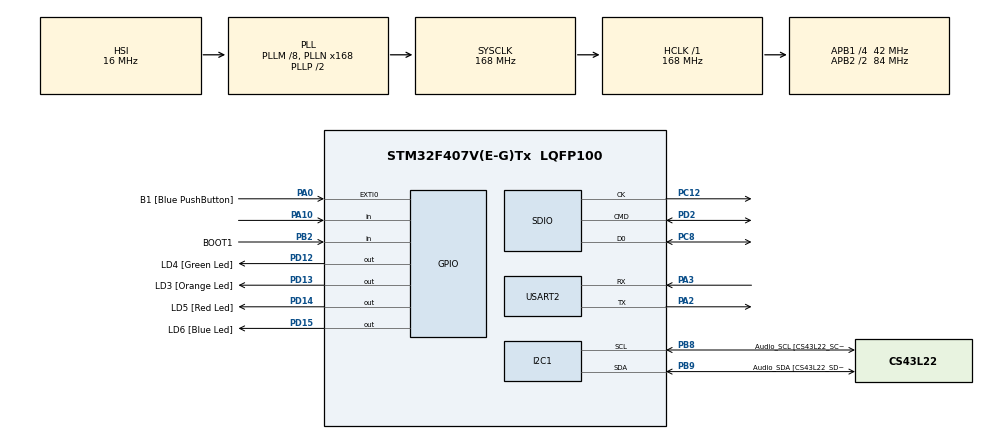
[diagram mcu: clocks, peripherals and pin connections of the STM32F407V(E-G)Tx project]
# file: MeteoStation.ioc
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Dma.Request0=SDIO_TX
Dma.Request1=SDIO_RX
Dma.SDIO_RX.1.Direction=DMA_PERIPH_TO_MEMORY
Dma.SDIO_RX.1.FIFOMode=DMA_FIFOMODE_ENABLE
Dma.SDIO_RX.1.FIFOThreshold=DMA_FIFO_THRESHOLD_FULL
Dma.SDIO_RX.1.Instance=DMA2_Stream6
Dma.SDIO_RX.1.MemBurst=DMA_MBURST_INC4
Dma.SDIO_RX.1.MemDataAlignment=DMA_MDATAALIGN_WORD
Dma.SDIO_RX.1.MemInc=DMA_MINC_ENABLE
Dma.SDIO_RX.1.Mode=DMA_PFCTRL
Dma.SDIO_RX.1.PeriphBurst=DMA_PBURST_INC4
Dma.SDIO_RX.1.PeriphDataAlignment=DMA_PDATAALIGN_WORD
Dma.SDIO_RX.1.PeriphInc=DMA_PINC_DISABLE
Dma.SDIO_RX.1.Priority=DMA_PRIORITY_LOW
Dma.SDIO_TX.0.Direction=DMA_MEMORY_TO_PERIPH
Dma.SDIO_TX.0.FIFOMode=DMA_FIFOMODE_ENABLE
Dma.SDIO_TX.0.FIFOThreshold=DMA_FIFO_THRESHOLD_FULL
Dma.SDIO_TX.0.Instance=DMA2_Stream3
Dma.SDIO_TX.0.MemBurst=DMA_MBURST_INC4
Dma.SDIO_TX.0.MemDataAlignment=DMA_MDATAALIGN_WORD
Dma.SDIO_TX.0.MemInc=DMA_MINC_ENABLE
Dma.SDIO_TX.0.Mode=DMA_PFCTRL
Dma.SDIO_TX.0.PeriphBurst=DMA_PBURST_INC4
Dma.SDIO_TX.0.PeriphDataAlignment=DMA_PDATAALIGN_WORD
Dma.SDIO_TX.0.PeriphInc=DMA_PINC_DISABLE
Dma.SDIO_TX.0.Priority=DMA_PRIORITY_LOW
FATFS.BSP.number=1
FATFS.USE_DMA_CODE_SD=1
FATFS._USE_CHMOD=1
FATFS._USE_EXPAND=1
FATFS._USE_FIND=1
FATFS._USE_FORWARD=1
FATFS._USE_LABEL=1
FATFS._USE_LFN=3
FATFS0.BSP.STBoard=false
FATFS0.BSP.api=Unknown
FATFS0.BSP.instance=PA10
FATFS0.BSP.ip=GPIO
FATFS0.BSP.mode=Input
FATFS0.BSP.name=Detect_SDIO
FATFS0.BSP.solution=PA10
Mcu.Family=STM32F4
Mcu.Name=STM32F407V(E-G)Tx
Mcu.Package=LQFP100
NVIC.DMA2_Stream3_IRQn=true\:7\:0\:true\:false\:true\:false\:true\:true
NVIC.DMA2_Stream6_IRQn=true\:7\:0\:true\:false\:true\:false\:true\:true
NVIC.PriorityGroup=NVIC_PRIORITYGROUP_4
NVIC.SDIO_IRQn=true\:6\:0\:true\:false\:true\:true\:true\:true
NVIC.TIM2_IRQn=true\:5\:0\:true\:false\:true\:true\:true\:true
NVIC.TIM6_DAC_IRQn=true\:6\:0\:true\:false\:true\:false\:true\:true
NVIC.TimeBase=TIM6_DAC_IRQn
NVIC.TimeBaseIP=TIM6
PA0-WKUP.GPIO_Label=B1 [Blue PushButton]
PA0-WKUP.GPIO_ModeDefaultEXTI=GPIO_MODE_EVT_RISING
PA0-WKUP.GPIO_PuPd=GPIO_NOPULL
PA0-WKUP.Signal=GPXTI0
PA10.GPIO_PuPd=GPIO_PULLDOWN
PA10.Signal=GPIO_Input
PA13.Mode=Serial_Wire
PA13.Signal=SYS_JTMS-SWDIO
PA14.Mode=Serial_Wire
PA14.Signal=SYS_JTCK-SWCLK
PA2.Mode=Asynchronous
PA2.Signal=USART2_TX
PA3.Mode=Asynchronous
PA3.Signal=USART2_RX
PB2.GPIO_Label=BOOT1
PB2.GPIO_Mode=GPIO_MODE_INPUT
PB2.GPIO_PuPd=GPIO_NOPULL
PB2.Signal=GPIO_Input
PB8.GPIO_Label=Audio_SCL [CS43L22_SCL]
PB8.GPIO_Mode=GPIO_MODE_AF_OD
PB8.GPIO_Pu=GPIO_PULLUP
PB8.GPIO_Speed=GPIO_SPEED_FREQ_LOW
PB8.Mode=I2C
PB8.Signal=I2C1_SCL
PB9.GPIO_Label=Audio_SDA [CS43L22_SDA]
PB9.GPIO_Mode=GPIO_MODE_AF_OD
PB9.GPIO_Pu=GPIO_PULLUP
PB9.GPIO_PuPd=GPIO_NOPULL
PB9.GPIO_Speed=GPIO_SPEED_FREQ_LOW
PB9.Mode=I2C
PB9.Signal=I2C1_SDA
PC12.Mode=SD_1_bit
PC12.Signal=SDIO_CK
PC8.Mode=SD_1_bit
PC8.Signal=SDIO_D0
PD12.GPIO_Label=LD4 [Green Led]
PD12.GPIO_PuPd=GPIO_NOPULL
PD12.GPIO_Speed=GPIO_SPEED_FREQ_LOW
PD12.Signal=GPIO_Output
PD13.GPIO_Label=LD3 [Orange Led]
PD13.GPIO_PuPd=GPIO_NOPULL
PD13.GPIO_Speed=GPIO_SPEED_FREQ_LOW
PD13.Signal=GPIO_Output
PD14.GPIO_Label=LD5 [Red Led]
PD14.GPIO_PuPd=GPIO_NOPULL
PD14.GPIO_Speed=GPIO_SPEED_FREQ_LOW
PD14.Signal=GPIO_Output
PD15.GPIO_Label=LD6 [Blue Led]
PD15.GPIO_PuPd=GPIO_NOPULL
PD15.GPIO_Speed=GPIO_SPEED_FREQ_LOW
PD15.Signal=GPIO_Output
PD2.Mode=SD_1_bit
PD2.Signal=SDIO_CMD
ProjectManager.HeapSize=0x200
ProjectManager.StackSize=0x400
ProjectManager.TargetToolchain=STM32CubeIDE
RCC.48MHZClocksFreq_Value=48000000
RCC.AHBFreq_Value=168000000
RCC.APB1CLKDivider=RCC_HCLK_DIV4
RCC.APB1Freq_Value=42000000
RCC.APB1TimFreq_Value=84000000
RCC.APB2CLKDivider=RCC_HCLK_DIV2
RCC.APB2Freq_Value=84000000
RCC.APB2TimFreq_Value=168000000
RCC.CortexFreq_Value=168000000
RCC.HCLKFreq_Value=168000000
RCC.HSE_VALUE=8000000
RCC.HSI_VALUE=16000000
RCC.LSE_VALUE=32768
RCC.PLLM=8
RCC.PLLN=168
RCC.PLLQ=7
RCC.SYSCLKFreq_VALUE=168000000
RCC.SYSCLKSource=RCC_SYSCLKSOURCE_PLLCLK
RCC.VCOOutputFreq_Value=336000000
TIM2.Period=99999
TIM2.Prescaler=8399
USART2.VirtualMode=VM_ASYNC
VP_FATFS_VS_SDIO.Mode=SDIO
VP_SYS_VS_tim6.Mode=TIM6
VP_TIM2_VS_ClockSourceINT.Mode=Internal
board=STM32F407G-DISC1

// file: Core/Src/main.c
/* USER CODE BEGIN Header */
/**
  ******************************************************************************
  * @file           : main.c
  * @brief          : Main program body
  ******************************************************************************
  * @attention
  *
  * Copyright (c) 2025 STMicroelectronics.
  * All rights reserved.
  *
  * This software is licensed under terms that can be found in the LICENSE file
  * in the root directory of this software component.
  * If no LICENSE file comes with this software, it is provided AS-IS.
  *
  ******************************************************************************
  */
/* USER CODE END Header */
#include "main.h"
#include "fatfs.h"

/* USER CODE BEGIN Includes */

#include "sd_functions.h"

/* USER CODE END Includes */

/* USER CODE BEGIN PD */

#define DWT_CTRL	(*(volatile uint32_t*)0xE0001000)

/* USER CODE END PD */

I2C_HandleTypeDef hi2c1;

SD_HandleTypeDef hsd;
DMA_HandleTypeDef hdma_sdio_tx;
DMA_HandleTypeDef hdma_sdio_rx;

TIM_HandleTypeDef htim2;

UART_HandleTypeDef huart2;

void SystemClock_Config(void);
static void MX_GPIO_Init(void);
static void MX_DMA_Init(void);
static void MX_I2C1_Init(void);
static void MX_TIM2_Init(void);
static void MX_SDIO_SD_Init(void);
static void MX_USART2_UART_Init(void);
/* USER CODE BEGIN PFP */

int _write(int fd, unsigned char *buf, int len);
void rtc_task(void*);
void bme280_task(void*);
void lcd_task(void*);
void sd_task(void*);
void vApplicationIdleHook(void);

/* USER CODE END PFP */

/* USER CODE BEGIN 0 */

// time and data structures
RTC_time_t curr_time;
RTC_date_t curr_date;

BME280_data_t measuring;

// data for queue and sd card
prev_date_t prev_date;

char curr_path[21];

// handlers
TaskHandle_t handle_rtc_task, handle_bme280_task, handle_lcd_task, handle_sd_task;
QueueHandle_t q_bme280, q_lcd, q_sd;
SemaphoreHandle_t i2cMutex;

/* USER CODE END 0 */

int main(void)
{

  /* MCU Configuration--------------------------------------------------------*/

  /* Reset of all peripherals, Initializes the Flash interface and the Systick. */
  HAL_Init();

  /* Configure the system clock */
  SystemClock_Config();

  /* Initialize all configured peripherals */
  MX_GPIO_Init();
  MX_DMA_Init();
  MX_I2C1_Init();
  MX_TIM2_Init();
  MX_SDIO_SD_Init();
  MX_FATFS_Init();
  MX_USART2_UART_Init();
  /* USER CODE BEGIN 2 */

  /* BME280 initialization */
  if(bme280_init() != HAL_OK)
  {
	  HAL_UART_Transmit(&huart2, "BME280_initialization is failed\n", 100, portMAX_DELAY);
  }
  else
  {
	  HAL_UART_Transmit(&huart2, "BME280_initialization is OK\n", 100, portMAX_DELAY);
  }

  // get first data
  if(bme280_get_data(&measuring) != HAL_OK)
  {
	  HAL_UART_Transmit(&huart2, "BME280_get_data is failed\n", 100, portMAX_DELAY);
  }
  else
  {
	  HAL_UART_Transmit(&huart2, "BME280_get_data is OK\n", 100, portMAX_DELAY);
  }
  /* DS1307 initialization */
  if(ds1307_init() != HAL_OK)
  {
	  HAL_UART_Transmit(&huart2, "DS1307_initialization is failed\n", 100, portMAX_DELAY);
  }
  else
  {
	  HAL_UART_Transmit(&huart2, "DS1307_initialization is OK\n", 100, portMAX_DELAY);
  }

  /* SET CURR DATA */
  {
	  curr_date.day = WEDNESDAY;
	  curr_date.date = 29;
	  curr_date.month = 12;
	  curr_date.year = 25;

	  curr_time.time_format = DS1307_TIME_FORMAT_24HOUR;
	  curr_time.hours = 20;
	  curr_time.minutes = 41;
	  curr_time.seconds = 30;

	  prev_date.prev_month = 11;
	  prev_date.prev_date = 28;
  }

  if(ds1307_set_current_date(&curr_date) != HAL_OK)
  {
	  HAL_UART_Transmit(&huart2, "DS1307_set_date is failed\n", 100, portMAX_DELAY);
  }
  else
  {
	  HAL_UART_Transmit(&huart2, "DS1307_set_date is OK\n", 100, portMAX_DELAY);
  }

  if(ds1307_set_current_time(&curr_time) != HAL_OK)
  {
	  HAL_UART_Transmit(&huart2, "DS1307_set_time is failed\n", 100, portMAX_DELAY);
  }
  else
  {
	  HAL_UART_Transmit(&huart2, "DS1307_set_time is OK\n", 100, portMAX_DELAY);
  }

  // /LOGS creation
  {
	  sd_mount();
	  sd_create_directory("/LOGS");
	  sd_unmount();
  }

#if SEGGER_UART_REC
  // Enable the CYCCNT counter.
  DWT_CTRL |= (1 << 0);

  // Enable SEGGER UART_VIEW
  SEGGER_UART_init(500000);

  SEGGER_SYSVIEW_Start();
#endif

  // Value to check the status
  BaseType_t status;

  // Create tasks
  status = xTaskCreate(rtc_task, "rtc_task", 256, NULL, 5, &handle_rtc_task);
  configASSERT(status == pdPASS);

  status = xTaskCreate(bme280_task, "bme280_task", 512, NULL, 5, &handle_bme280_task);
  configASSERT(status == pdPASS);

  status = xTaskCreate(lcd_task, "lcd_task", 512, NULL, 5, &handle_lcd_task);
  configASSERT(status == pdPASS);

  status = xTaskCreate(sd_task, "sd_task", 512, NULL, 4, &handle_sd_task);
  configASSERT(status == pdPASS);

  // Create 3 queue for rtc, bme280 and ( lcd & sd )
  q_bme280 = xQueueCreate(1, sizeof(meteo_msg_t));
  configASSERT(q_bme280 != NULL);

  q_lcd = xQueueCreate(1, sizeof(meteo_msg_t));
  configASSERT(q_lcd != NULL);

  q_sd = xQueueCreate(1, sizeof(meteo_msg_t));
  configASSERT(q_sd != NULL);

  i2cMutex = xSemaphoreCreateMutex();
  configASSERT(i2cMutex != NULL);

  xSemaphoreGive(i2cMutex);

  /* Timer 2 initialization */
  HAL_TIM_Base_Start_IT(&htim2);

  // Start the freeRTOS scheduler
  vTaskStartScheduler();

  /* USER CODE END 2 */

  /* Infinite loop */
  while(1)
  {

    /* USER CODE BEGIN 3 */
  }

  return 0;
  /* USER CODE END 3 */
}

void SystemClock_Config(void)
{
  RCC_OscInitTypeDef RCC_OscInitStruct = {0};
  RCC_ClkInitTypeDef RCC_ClkInitStruct = {0};

  /** Configure the main internal regulator output voltage
  */
  __HAL_RCC_PWR_CLK_ENABLE();
  __HAL_PWR_VOLTAGESCALING_CONFIG(PWR_REGULATOR_VOLTAGE_SCALE1);

  /** Initializes the RCC Oscillators according to the specified parameters
  * in the RCC_OscInitTypeDef structure.
  */
  RCC_OscInitStruct.OscillatorType = RCC_OSCILLATORTYPE_HSI;
  RCC_OscInitStruct.HSIState = RCC_HSI_ON;
  RCC_OscInitStruct.HSICalibrationValue = RCC_HSICALIBRATION_DEFAULT;
  RCC_OscInitStruct.PLL.PLLState = RCC_PLL_ON;
  RCC_OscInitStruct.PLL.PLLSource = RCC_PLLSOURCE_HSI;
  RCC_OscInitStruct.PLL.PLLM = 8;
  RCC_OscInitStruct.PLL.PLLN = 168;
  RCC_OscInitStruct.PLL.PLLP = RCC_PLLP_DIV2;
  RCC_OscInitStruct.PLL.PLLQ = 7;
  if (HAL_RCC_OscConfig(&RCC_OscInitStruct) != HAL_OK)
  {
    Error_Handler();
  }

  /** Initializes the CPU, AHB and APB buses clocks
  */
  RCC_ClkInitStruct.ClockType = RCC_CLOCKTYPE_HCLK|RCC_CLOCKTYPE_SYSCLK
                              |RCC_CLOCKTYPE_PCLK1|RCC_CLOCKTYPE_PCLK2;
  RCC_ClkInitStruct.SYSCLKSource = RCC_SYSCLKSOURCE_PLLCLK;
  RCC_ClkInitStruct.AHBCLKDivider = RCC_SYSCLK_DIV1;
  RCC_ClkInitStruct.APB1CLKDivider = RCC_HCLK_DIV4;
  RCC_ClkInitStruct.APB2CLKDivider = RCC_HCLK_DIV2;

  if (HAL_RCC_ClockConfig(&RCC_ClkInitStruct, FLASH_LATENCY_5) != HAL_OK)
  {
    Error_Handler();
  }
}

static void MX_I2C1_Init(void)
{

  hi2c1.Instance = I2C1;
  hi2c1.Init.ClockSpeed = 100000;
  hi2c1.Init.DutyCycle = I2C_DUTYCYCLE_2;
  hi2c1.Init.OwnAddress1 = 0;
  hi2c1.Init.AddressingMode = I2C_ADDRESSINGMODE_7BIT;
  hi2c1.Init.DualAddressMode = I2C_DUALADDRESS_DISABLE;
  hi2c1.Init.OwnAddress2 = 0;
  hi2c1.Init.GeneralCallMode = I2C_GENERALCALL_DISABLE;
  hi2c1.Init.NoStretchMode = I2C_NOSTRETCH_DISABLE;
  if (HAL_I2C_Init(&hi2c1) != HAL_OK)
  {
    Error_Handler();
  }

}

static void MX_SDIO_SD_Init(void)
{

  hsd.Instance = SDIO;
  hsd.Init.ClockEdge = SDIO_CLOCK_EDGE_RISING;
  hsd.Init.ClockBypass = SDIO_CLOCK_BYPASS_DISABLE;
  hsd.Init.ClockPowerSave = SDIO_CLOCK_POWER_SAVE_DISABLE;
  hsd.Init.BusWide = SDIO_BUS_WIDE_1B;
  hsd.Init.HardwareFlowControl = SDIO_HARDWARE_FLOW_CONTROL_DISABLE;
  hsd.Init.ClockDiv = 0;
  /* USER CODE BEGIN SDIO_Init 2 */

  //1) Initialize SD peripheral (this performs card init in 1-bit) */

  if (HAL_SD_Init(&hsd) != HAL_OK)
  {
	  printf("HAL_SD_Init failed!\r\n");
      Error_Handler();
  }

  printf("HAL_SD_Init OK\n");

  // switch to 4-bit AFTER init
  if (HAL_SD_ConfigWideBusOperation(&hsd, SDIO_BUS_WIDE_4B) == HAL_OK)
  {
	  printf("4-bit mode enabled \r\n");
  }
  else
  {
	  printf("Failed to switch to 4-bit mode\r\n");
  }

  /* USER CODE END SDIO_Init 2 */

}

static void MX_TIM2_Init(void)
{

  TIM_ClockConfigTypeDef sClockSourceConfig = {0};
  TIM_MasterConfigTypeDef sMasterConfig = {0};

  htim2.Instance = TIM2;
  htim2.Init.Prescaler = 8399;
  htim2.Init.CounterMode = TIM_COUNTERMODE_UP;
  htim2.Init.Period = 99999;
  htim2.Init.ClockDivision = TIM_CLOCKDIVISION_DIV1;
  htim2.Init.AutoReloadPreload = TIM_AUTORELOAD_PRELOAD_DISABLE;
  if (HAL_TIM_Base_Init(&htim2) != HAL_OK)
  {
    Error_Handler();
  }
  sClockSourceConfig.ClockSource = TIM_CLOCKSOURCE_INTERNAL;
  if (HAL_TIM_ConfigClockSource(&htim2, &sClockSourceConfig) != HAL_OK)
  {
    Error_Handler();
  }
  sMasterConfig.MasterOutputTrigger = TIM_TRGO_RESET;
  sMasterConfig.MasterSlaveMode = TIM_MASTERSLAVEMODE_DISABLE;
  if (HAL_TIMEx_MasterConfigSynchronization(&htim2, &sMasterConfig) != HAL_OK)
  {
    Error_Handler();
  }

}

static void MX_USART2_UART_Init(void)
{

  huart2.Instance = USART2;
  huart2.Init.BaudRate = 115200;
  huart2.Init.WordLength = UART_WORDLENGTH_8B;
  huart2.Init.StopBits = UART_STOPBITS_1;
  huart2.Init.Parity = UART_PARITY_NONE;
  huart2.Init.Mode = UART_MODE_TX_RX;
  huart2.Init.HwFlowCtl = UART_HWCONTROL_NONE;
  huart2.Init.OverSampling = UART_OVERSAMPLING_16;
  if (HAL_UART_Init(&huart2) != HAL_OK)
  {
    Error_Handler();
  }

}

static void MX_DMA_Init(void)
{

  /* DMA controller clock enable */
  __HAL_RCC_DMA2_CLK_ENABLE();

  /* DMA interrupt init */
  /* DMA2_Stream3_IRQn interrupt configuration */
  HAL_NVIC_SetPriority(DMA2_Stream3_IRQn, 7, 0);
  HAL_NVIC_EnableIRQ(DMA2_Stream3_IRQn);
  /* DMA2_Stream6_IRQn interrupt configuration */
  HAL_NVIC_SetPriority(DMA2_Stream6_IRQn, 7, 0);
  HAL_NVIC_EnableIRQ(DMA2_Stream6_IRQn);

}

static void MX_GPIO_Init(void)
{
  GPIO_InitTypeDef GPIO_InitStruct = {0};

  /* GPIO Ports Clock Enable */
  __HAL_RCC_GPIOA_CLK_ENABLE();
  __HAL_RCC_GPIOB_CLK_ENABLE();
  __HAL_RCC_GPIOD_CLK_ENABLE();
  __HAL_RCC_GPIOC_CLK_ENABLE();

  /*Configure GPIO pin Output Level */
  HAL_GPIO_WritePin(GPIOD, LD4_Pin|LD3_Pin|LD5_Pin|LD6_Pin, GPIO_PIN_RESET);

  /*Configure GPIO pin : B1_Pin */
  GPIO_InitStruct.Pin = B1_Pin;
  GPIO_InitStruct.Mode = GPIO_MODE_EVT_RISING;
  GPIO_InitStruct.Pull = GPIO_NOPULL;
  HAL_GPIO_Init(B1_GPIO_Port, &GPIO_InitStruct);

  /*Configure GPIO pin : BOOT1_Pin */
  GPIO_InitStruct.Pin = BOOT1_Pin;
  GPIO_InitStruct.Mode = GPIO_MODE_INPUT;
  GPIO_InitStruct.Pull = GPIO_NOPULL;
  HAL_GPIO_Init(BOOT1_GPIO_Port, &GPIO_InitStruct);

  /*Configure GPIO pins : LD4_Pin LD3_Pin LD5_Pin LD6_Pin */
  GPIO_InitStruct.Pin = LD4_Pin|LD3_Pin|LD5_Pin|LD6_Pin;
  GPIO_InitStruct.Mode = GPIO_MODE_OUTPUT_PP;
  GPIO_InitStruct.Pull = GPIO_NOPULL;
  GPIO_InitStruct.Speed = GPIO_SPEED_FREQ_LOW;
  HAL_GPIO_Init(GPIOD, &GPIO_InitStruct);

  /*Configure GPIO pin : PA10 */
  GPIO_InitStruct.Pin = GPIO_PIN_10;
  GPIO_InitStruct.Mode = GPIO_MODE_INPUT;
  GPIO_InitStruct.Pull = GPIO_PULLDOWN;
  HAL_GPIO_Init(GPIOA, &GPIO_InitStruct);

/* USER CODE BEGIN MX_GPIO_Init_2 */
  	 /*Configure GPIO pin : PD14 */
  GPIO_InitStruct.Pin = GPIO_PIN_13;
  GPIO_InitStruct.Mode = GPIO_MODE_OUTPUT_PP;
  GPIO_InitStruct.Pull = GPIO_NOPULL;
  GPIO_InitStruct.Speed = GPIO_SPEED_FREQ_MEDIUM;
  HAL_GPIO_Init(GPIOD, &GPIO_InitStruct);

  // 1. Configure GPIO pins which used for lcd connections

  GPIO_InitStruct.Speed = GPIO_SPEED_FREQ_HIGH;
  GPIO_InitStruct.Mode = GPIO_MODE_OUTPUT_PP;
  GPIO_InitStruct.Pull = GPIO_NOPULL;

  GPIO_InitStruct.Pin = LCD_GPIO_RS;
  HAL_GPIO_Init(LCD_GPIO_PORT, &GPIO_InitStruct);

  GPIO_InitStruct.Pin = LCD_GPIO_RW;
  HAL_GPIO_Init(LCD_GPIO_PORT, &GPIO_InitStruct);

  GPIO_InitStruct.Pin = LCD_GPIO_EN;
  HAL_GPIO_Init(LCD_GPIO_PORT, &GPIO_InitStruct);

  GPIO_InitStruct.Pin = LCD_GPIO_D4;
  HAL_GPIO_Init(LCD_GPIO_PORT, &GPIO_InitStruct);

  GPIO_InitStruct.Pin = LCD_GPIO_D5;
  HAL_GPIO_Init(LCD_GPIO_PORT, &GPIO_InitStruct);

  GPIO_InitStruct.Pin = LCD_GPIO_D6;
  HAL_GPIO_Init(LCD_GPIO_PORT, &GPIO_InitStruct);

  GPIO_InitStruct.Pin = LCD_GPIO_D7;
  HAL_GPIO_Init(LCD_GPIO_PORT, &GPIO_InitStruct);

  HAL_GPIO_WritePin(LCD_GPIO_PORT, LCD_GPIO_RS, GPIO_PIN_RESET);

  HAL_GPIO_WritePin(LCD_GPIO_PORT, LCD_GPIO_RW, GPIO_PIN_RESET);
  HAL_GPIO_WritePin(LCD_GPIO_PORT, LCD_GPIO_EN, GPIO_PIN_RESET);

  HAL_GPIO_WritePin(LCD_GPIO_PORT, LCD_GPIO_D4, GPIO_PIN_RESET);
  HAL_GPIO_WritePin(LCD_GPIO_PORT, LCD_GPIO_D5, GPIO_PIN_RESET);
  HAL_GPIO_WritePin(LCD_GPIO_PORT, LCD_GPIO_D6, GPIO_PIN_RESET);
  HAL_GPIO_WritePin(LCD_GPIO_PORT, LCD_GPIO_D7, GPIO_PIN_RESET);

  lcd_init();

  /* SDIO 4-bit pins D0-D3  initialization */
  GPIO_InitStruct.Pin = GPIO_PIN_8 | GPIO_PIN_9 | GPIO_PIN_10 | GPIO_PIN_11;
  GPIO_InitStruct.Mode = GPIO_MODE_AF_PP;
  GPIO_InitStruct.Pull = GPIO_NOPULL;
  GPIO_InitStruct.Speed = GPIO_SPEED_FREQ_VERY_HIGH;
  GPIO_InitStruct.Alternate = GPIO_AF12_SDIO;
  HAL_GPIO_Init(GPIOC, &GPIO_InitStruct);

/* USER CODE END MX_GPIO_Init_2 */
}

/* USER CODE BEGIN 4 */

int _write(int fd, unsigned char *buf, int len) {
  if (fd == 1 || fd == 2) {
    HAL_UART_Transmit(&huart2, buf, len, HAL_MAX_DELAY);  // Print to the UART
  }
  return len;
}

void vApplicationIdleHook(void)
{
	HAL_PWR_EnterSLEEPMode(PWR_MAINREGULATOR_ON, PWR_SLEEPENTRY_WFI);
}

/* USER CODE END 4 */

void HAL_TIM_PeriodElapsedCallback(TIM_HandleTypeDef *htim)
{
  if (htim->Instance == TIM6) {
    HAL_IncTick();
  }
  /* USER CODE BEGIN Callback 1 */

  if(htim->Instance == TIM2)
  {
	 xTaskNotifyFromISR(handle_rtc_task, 0, eNoAction, NULL);
  }

  /* USER CODE END Callback 1 */
}

void Error_Handler(void)
{
  __disable_irq();
  while (1)
  {
  }
}
